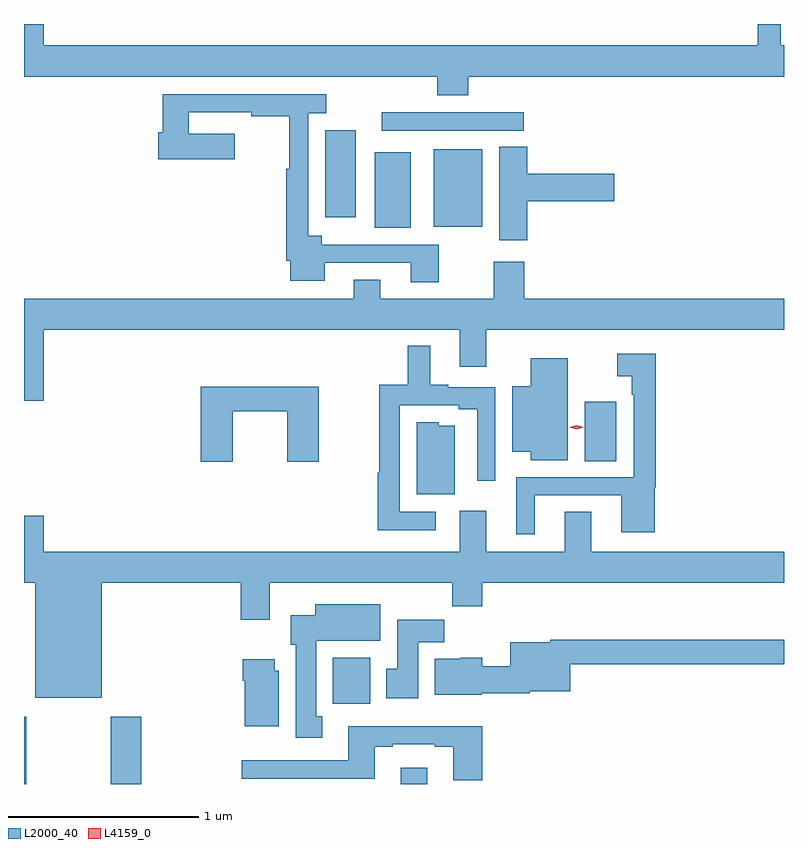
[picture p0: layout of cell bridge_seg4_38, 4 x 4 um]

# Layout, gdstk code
import gdstk
lib = gdstk.Library(unit=1e-6, precision=1e-09)
def R(c, l, rs):  # rectangles x0, y0, x1, y1
    for r in rs: c.add(gdstk.rectangle(r[:2], r[2:], *l))
def P(c, l, *ps):  # polygons
    for p in ps: c.add(gdstk.Polygon(p, *l))
L2000_40 = (2000, 40)
L4159_0 = (4159, 0)

bridge_seg4_38 = lib.new_cell('bridge_seg4_38')
R(bridge_seg4_38, L2000_40, [(680.553,749.141,680.565,749.494), (681.01,749.141,681.17,749.494), (682.535,749.141,682.675,749.227), (682.178,749.564,682.375,749.806), (683.504,750.841,683.671,751.153), (682.4,752.069,682.588,752.467), (682.709,752.075,682.966,752.482), (682.139,752.124,682.3,752.581), (682.437,752.58,683.182,752.676)])
P(bridge_seg4_38, L2000_40, [(682.892,752.864),(684.553,752.864),(684.553,753.028),(684.535,753.028),(684.535,753.141),(684.414,753.141),(684.414,753.028),(680.656,753.028),(680.656,753.141),(680.553,753.141),(680.553,752.864),(682.727,752.864),(682.727,752.765),(682.892,752.765)],
  [(682.737,751.98),(682.12,751.98),(682.12,752.026),(682.05,752.026),(682.05,752.672),(682.144,752.672),(682.144,752.772),(681.283,752.772),(681.283,752.571),(681.26,752.571),(681.26,752.429),(681.661,752.429),(681.661,752.563),(681.419,752.563),(681.419,752.676),(681.748,752.676),(681.748,752.656),(681.949,752.656),(681.949,752.379),(681.934,752.379),(681.934,751.894),(681.953,751.894),(681.953,751.79),(682.135,751.79),(682.135,751.884),(682.589,751.884),(682.589,751.782),(682.737,751.782)],
  [(683.201,752.207),(683.659,752.207),(683.659,752.354),(683.201,752.354),(683.201,752.495),(683.054,752.495),(683.054,752.004),(683.201,752.004)],
  [(680.656,751.532),(682.847,751.532),(682.847,751.338),(682.987,751.338),(682.987,751.532),(684.553,751.532),(684.553,751.696),(683.186,751.696),(683.186,751.891),(683.026,751.891),(683.026,751.696),(682.429,751.696),(682.429,751.795),(682.289,751.795),(682.289,751.696),(680.553,751.696),(680.553,751.158),(680.656,751.158)],
  [(682.72,750.573),(682.53,750.573),(682.53,751.134),(682.841,751.134),(682.841,751.114),(682.938,751.114),(682.938,750.738),(683.034,750.738),(683.034,751.23),(682.786,751.23),(682.786,751.243),(682.69,751.243),(682.69,751.447),(682.573,751.447),(682.573,751.243),(682.422,751.243),(682.422,750.78),(682.414,750.78),(682.414,750.477),(682.72,750.477)],
  [(683.242,750.66),(683.696,750.66),(683.696,750.467),(683.872,750.467),(683.872,750.703),(683.879,750.703),(683.879,751.405),(683.676,751.405),(683.676,751.286),(683.751,751.286),(683.751,751.19),(683.763,751.19),(683.763,750.756),(683.144,750.756),(683.144,750.456),(683.242,750.456)],
  [(683.416,751.381),(683.219,751.381),(683.219,751.234),(683.123,751.234),(683.123,750.89),(683.219,750.89),(683.219,750.845),(683.416,750.845)],
  [(681.652,751.102),(681.938,751.102),(681.938,750.837),(682.104,750.837),(682.104,751.231),(681.482,751.231),(681.482,750.837),(681.652,750.837)],
  [(682.819,751.027),(682.737,751.027),(682.737,751.045),(682.619,751.045),(682.619,750.665),(682.819,750.665)],
  [(680.962,750.2),(681.695,750.2),(681.695,750.006),(681.847,750.006),(681.847,750.2),(682.807,750.2),(682.807,750.076),(682.964,750.076),(682.964,750.2),(684.553,750.2),(684.553,750.364),(683.539,750.364),(683.539,750.575),(683.399,750.575),(683.399,750.364),(682.987,750.364),(682.987,750.58),(682.847,750.58),(682.847,750.364),(680.656,750.364),(680.656,750.553),(680.553,750.553),(680.553,750.2),(680.612,750.2),(680.612,749.594),(680.962,749.594)],
  [(682.123,749.498),(682.09,749.498),(682.09,749.894),(682.429,749.894),(682.429,750.088),(682.085,750.088),(682.085,750.028),(681.956,750.028),(681.956,749.874),(681.983,749.874),(681.983,749.385),(682.123,749.385)],
  [(682.627,749.888),(682.766,749.888),(682.766,750.006),(682.517,750.006),(682.517,749.748),(682.46,749.748),(682.46,749.592),(682.627,749.592)],
  [(682.962,749.618),(683.215,749.618),(683.215,749.63),(683.428,749.63),(683.428,749.77),(684.553,749.77),(684.553,749.899),(683.324,749.899),(683.324,749.887),(683.111,749.887),(683.111,749.76),(682.966,749.76),(682.966,749.806),(682.848,749.806),(682.848,749.8),(682.715,749.8),(682.715,749.612),(682.962,749.612)],
  [(681.895,749.736),(681.874,749.736),(681.874,749.797),(681.704,749.797),(681.704,749.684),(681.716,749.684),(681.716,749.444),(681.895,749.444)],
  [(682.964,749.446),(682.259,749.446),(682.259,749.265),(681.699,749.265),(681.699,749.168),(682.399,749.168),(682.399,749.337),(682.495,749.337),(682.495,749.349),(682.715,749.349),(682.715,749.337),(682.811,749.337),(682.811,749.16),(682.964,749.16)])
P(bridge_seg4_38, L4159_0, [(683.461,751.008),(683.423,751.018),(683.423,751.018),(683.423,751.018),(683.461,751.028),(683.499,751.018),(683.5,751.018),(683.499,751.018)])

lib.write_gds('bridge_seg4_38.gds')
